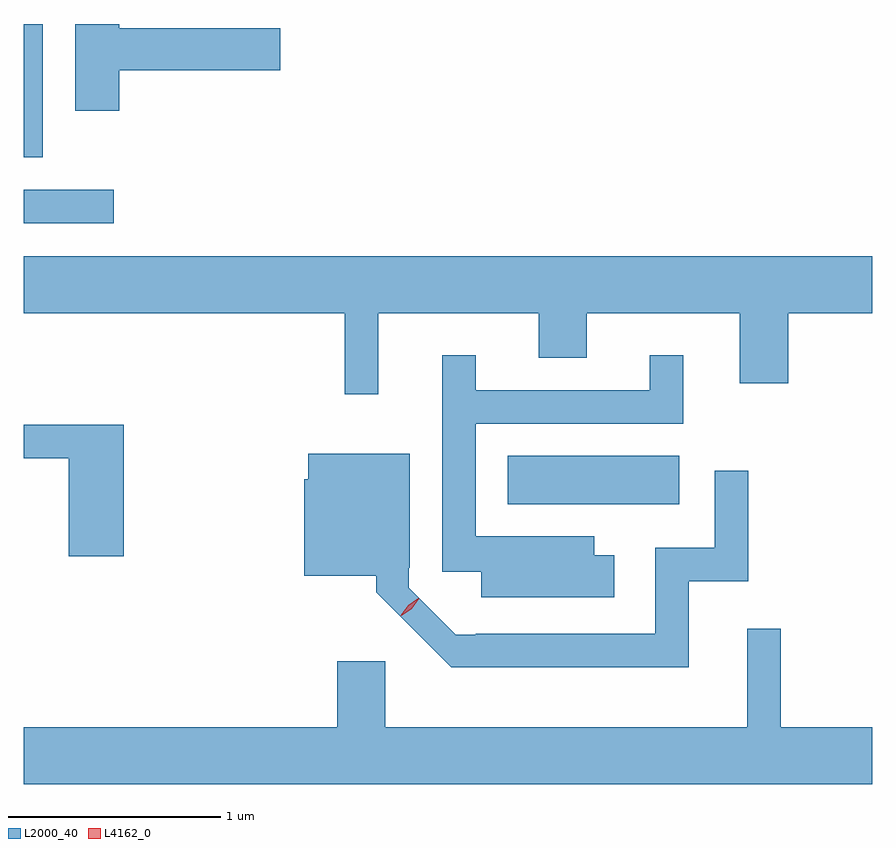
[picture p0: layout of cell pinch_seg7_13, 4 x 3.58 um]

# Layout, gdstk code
import gdstk
lib = gdstk.Library(unit=1e-6, precision=1e-09)
def R(c, l, rs):  # rectangles x0, y0, x1, y1
    for r in rs: c.add(gdstk.rectangle(r[:2], r[2:], *l))
def P(c, l, *ps):  # polygons
    for p in ps: c.add(gdstk.Polygon(p, *l))
L2000_40 = (2000, 40)
L4162_0 = (4162, 0)

pinch_seg7_13 = lib.new_cell('pinch_seg7_13')
R(pinch_seg7_13, L2000_40, [(825.616,1684.556,826.424,1684.784), (823.334,1685.881,823.758,1686.039), (823.334,1686.191,823.424,1686.819)])
P(pinch_seg7_13, L2000_40, [(823.784,1686.601),(824.544,1686.601),(824.544,1686.799),(823.784,1686.799),(823.784,1686.82),(823.576,1686.82),(823.576,1686.411),(823.784,1686.411)],
  [(825.004,1685.456),(825.761,1685.456),(825.761,1685.246),(825.989,1685.246),(825.989,1685.456),(826.711,1685.456),(826.711,1685.126),(826.939,1685.126),(826.939,1685.456),(827.334,1685.456),(827.334,1685.724),(823.334,1685.724),(823.334,1685.456),(824.846,1685.456),(824.846,1685.073),(825.004,1685.073)],
  [(826.119,1684.314),(826.024,1684.314),(826.024,1684.404),(825.464,1684.404),(825.464,1684.936),(826.444,1684.936),(826.444,1685.258),(826.286,1685.258),(826.286,1685.094),(825.464,1685.094),(825.464,1685.258),(825.306,1685.258),(825.306,1684.236),(825.491,1684.236),(825.491,1684.116),(826.119,1684.116)],
  [(823.804,1684.929),(823.334,1684.929),(823.334,1684.771),(823.546,1684.771),(823.546,1684.311),(823.804,1684.311)],
  [(826.469,1684.191),(826.749,1684.191),(826.749,1684.713),(826.591,1684.713),(826.591,1684.349),(826.311,1684.349),(826.311,1683.944),(825.465,1683.944),(825.465,1683.94),(825.371,1683.94),(825.15,1684.161),(825.15,1684.255),(825.154,1684.255),(825.154,1684.794),(824.676,1684.794),(824.676,1684.674),(824.656,1684.674),(824.656,1684.219),(824.996,1684.219),(824.996,1684.14),(825.35,1683.786),(826.469,1683.786)],
  [(827.334,1683.504),(826.904,1683.504),(826.904,1683.968),(826.746,1683.968),(826.746,1683.504),(825.039,1683.504),(825.039,1683.814),(824.811,1683.814),(824.811,1683.504),(823.334,1683.504),(823.334,1683.236),(827.334,1683.236)])
P(pinch_seg7_13, L4162_0, [(825.111,1684.026),(825.111,1684.027),(825.148,1684.076),(825.198,1684.111),(825.198,1684.111),(825.198,1684.111),(825.162,1684.062),(825.112,1684.026)],
  [(825.112,1684.031),(825.112,1684.032),(825.146,1684.078),(825.193,1684.111),(825.193,1684.111),(825.193,1684.11),(825.16,1684.064),(825.113,1684.031)])

lib.write_gds('pinch_seg7_13.gds')
